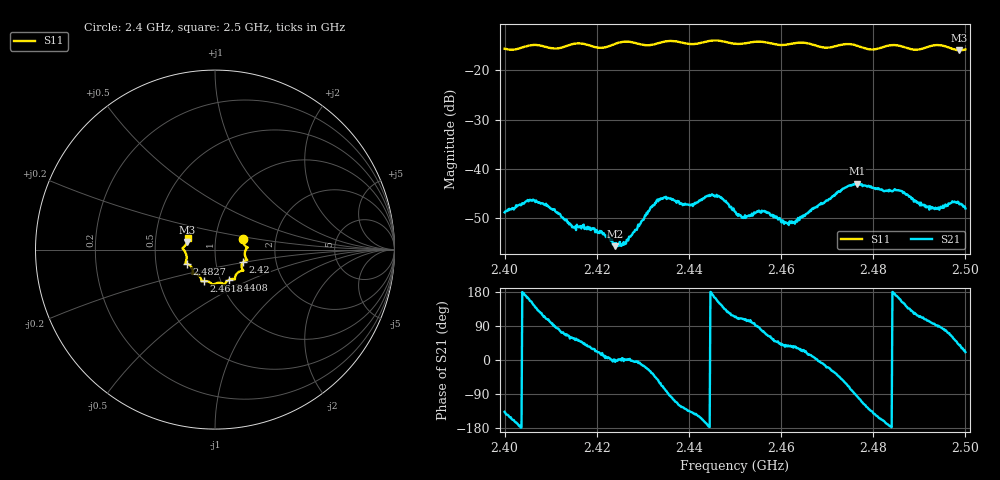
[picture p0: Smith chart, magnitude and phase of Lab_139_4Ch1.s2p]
# Hz S RI R 50
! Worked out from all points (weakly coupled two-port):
!   601 points, 2.4 GHz to 2.5 GHz, reference 50 ohm
!   highest |S21| = -43.06 dB at 2.4765 GHz (marker M1); lowest = -55.8 dB at 2.424 GHz (marker M2)
!   lowest |S11| = -15.9 dB at 2.4987 GHz (marker M3), VSWR 1.38, Z = 36.5 + j3.23 ohm
!   |S11| at or under -10 dB: start of sweep to end of sweep
!   S12 and S22 are empty: the file has one direction only
!   S11 on the Smith chart (normalised r, x): 2.4 GHz: 1.35, +0.17; 2.42 GHz: 1.36, -0.19; 2.4408 GHz: 1.10, -0.38; 2.4618 GHz: 0.83, -0.30; 2.4827 GHz: 0.72, -0.12; 2.5 GHz: 0.73, +0.09
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2.4e9  0.155 0.0614  -0.00262 -0.00245  0 0  0 0
2.406e9  0.1809 0.0127  -0.00407 0.00236  0 0  0 0
2.415e9  0.1779 -0.0564  0.00135 0.00212  0 0  0 0
2.416667e9  0.1788 -0.0588  0.00162 0.00185  0 0  0 0
2.42e9  0.1568 -0.0689  0.00218 0.000921  0 0  0 0
2.424e9  0.152 -0.1083  0.00161 -0.000142  0 0  0 0
2.4265e9  0.158 -0.1173  0.00188 4.11e-05  0 0  0 0
2.433333e9  0.1116 -0.1529  0.00277 -0.00372  0 0  0 0
2.440833e9  0.0779 -0.1686  -0.00314 -0.00272  0 0  0 0
2.4455e9  0.053 -0.1948  -0.00513 0.00137  0 0  0 0
2.45e9  0.027 -0.185  -0.00143 0.00334  0 0  0 0
2.452e9  0.0063 -0.1882  -0.000923 0.00303  0 0  0 0
2.456333e9  -0.0146 -0.1942  0.00109 0.00355  0 0  0 0
2.461833e9  -0.0612 -0.1749  0.00235 0.0017  0 0  0 0
2.466667e9  -0.076 -0.1682  0.00382 0.000701  0 0  0 0
2.4765e9  -0.125 -0.1282  -0.000708 -0.00699  0 0  0 0
2.482667e9  -0.1582 -0.0779  -0.00576 -0.00147  0 0  0 0
2.483333e9  -0.1621 -0.0767  -0.00581 -0.000809  0 0  0 0
2.485833e9  -0.1636 -0.0701  -0.00562 0.002  0 0  0 0
2.492667e9  -0.1783 0.00322  -0.000561 0.00388  0 0  0 0
2.498667e9  -0.1544 0.0431  0.00337 0.00275  0 0  0 0
2.5e9  -0.1512 0.063  0.00367 0.00139  0 0  0 0
